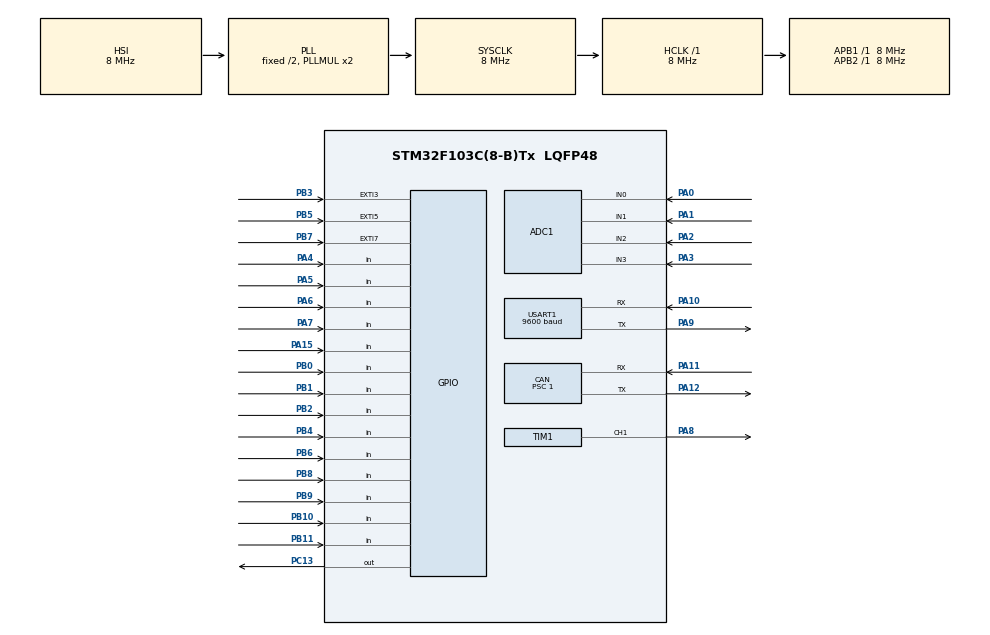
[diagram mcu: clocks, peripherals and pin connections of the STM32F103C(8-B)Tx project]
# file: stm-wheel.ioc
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ADC1.Channel-0\#ChannelRegularConversion=ADC_CHANNEL_0
ADC1.Channel-1\#ChannelRegularConversion=ADC_CHANNEL_1
ADC1.Channel-2\#ChannelRegularConversion=ADC_CHANNEL_2
ADC1.Channel-3\#ChannelRegularConversion=ADC_CHANNEL_3
ADC1.ContinuousConvMode=ENABLE
ADC1.NbrOfConversion=4
ADC1.NbrOfConversionFlag=1
ADC1.Rank-0\#ChannelRegularConversion=1
ADC1.Rank-1\#ChannelRegularConversion=2
ADC1.Rank-2\#ChannelRegularConversion=3
ADC1.Rank-3\#ChannelRegularConversion=4
ADC1.SamplingTime-0\#ChannelRegularConversion=ADC_SAMPLETIME_55CYCLES_5
ADC1.SamplingTime-1\#ChannelRegularConversion=ADC_SAMPLETIME_55CYCLES_5
ADC1.SamplingTime-2\#ChannelRegularConversion=ADC_SAMPLETIME_55CYCLES_5
ADC1.SamplingTime-3\#ChannelRegularConversion=ADC_SAMPLETIME_55CYCLES_5
ADC1.master=1
CAN.BS1=CAN_BS1_5TQ
CAN.BS2=CAN_BS2_2TQ
CAN.CalculateBaudRate=1000000
CAN.CalculateTimeBit=1000
CAN.CalculateTimeQuantum=125.0
CAN.Prescaler=1
Dma.ADC1.0.Direction=DMA_PERIPH_TO_MEMORY
Dma.ADC1.0.Instance=DMA1_Channel1
Dma.ADC1.0.MemDataAlignment=DMA_MDATAALIGN_HALFWORD
Dma.ADC1.0.MemInc=DMA_MINC_ENABLE
Dma.ADC1.0.Mode=DMA_CIRCULAR
Dma.ADC1.0.PeriphDataAlignment=DMA_PDATAALIGN_HALFWORD
Dma.ADC1.0.PeriphInc=DMA_PINC_DISABLE
Dma.ADC1.0.Priority=DMA_PRIORITY_HIGH
Dma.Request0=ADC1
Dma.Request1=TIM1_CH1
Dma.TIM1_CH1.1.Direction=DMA_MEMORY_TO_PERIPH
Dma.TIM1_CH1.1.Instance=DMA1_Channel2
Dma.TIM1_CH1.1.MemDataAlignment=DMA_MDATAALIGN_HALFWORD
Dma.TIM1_CH1.1.MemInc=DMA_MINC_ENABLE
Dma.TIM1_CH1.1.Mode=DMA_NORMAL
Dma.TIM1_CH1.1.PeriphDataAlignment=DMA_PDATAALIGN_HALFWORD
Dma.TIM1_CH1.1.PeriphInc=DMA_PINC_DISABLE
Dma.TIM1_CH1.1.Priority=DMA_PRIORITY_HIGH
FREERTOS.Tasks01=defaultTask,0,128,StartDefaultTask,Default,NULL,Dynamic,NULL,NULL;nextionTask,1,192,startNextionTask,Default,NULL,Dynamic,NULL,NULL;canTask,2,192,startCanTask,Default,NULL,Dynamic,NULL,NULL
FREERTOS.configUSE_NEWLIB_REENTRANT=1
Mcu.Family=STM32F1
Mcu.Name=STM32F103C(8-B)Tx
Mcu.Package=LQFP48
NVIC.CAN1_RX1_IRQn=true\:5\:0\:false\:false\:true\:true\:true\:true\:true
NVIC.CAN1_SCE_IRQn=true\:5\:0\:false\:false\:true\:true\:true\:true\:true
NVIC.DMA1_Channel1_IRQn=true\:5\:0\:false\:false\:true\:true\:false\:true\:true
NVIC.DMA1_Channel2_IRQn=true\:5\:0\:false\:false\:true\:true\:false\:true\:true
NVIC.EXTI3_IRQn=true\:5\:0\:false\:false\:true\:true\:true\:true\:true
NVIC.EXTI9_5_IRQn=true\:5\:0\:false\:false\:true\:true\:true\:true\:true
NVIC.PriorityGroup=NVIC_PRIORITYGROUP_4
NVIC.TIM4_IRQn=true\:15\:0\:false\:false\:true\:false\:false\:true\:true
NVIC.TimeBase=TIM4_IRQn
NVIC.TimeBaseIP=TIM4
NVIC.USART1_IRQn=true\:5\:0\:false\:false\:true\:true\:true\:true\:true
NVIC.USB_HP_CAN1_TX_IRQn=true\:5\:0\:false\:false\:true\:true\:true\:true\:true
NVIC.USB_LP_CAN1_RX0_IRQn=true\:5\:0\:false\:false\:true\:true\:true\:true\:true
PA0-WKUP.Signal=ADCx_IN0
PA1.Signal=ADCx_IN1
PA10.Mode=Asynchronous
PA10.Signal=USART1_RX
PA11.GPIO_PuPd=GPIO_PULLUP
PA11.Mode=CAN_Activate
PA11.Signal=CAN_RX
PA12.Mode=CAN_Activate
PA12.Signal=CAN_TX
PA13.Mode=Serial_Wire
PA13.Signal=SYS_JTMS-SWDIO
PA14.Mode=Serial_Wire
PA14.Signal=SYS_JTCK-SWCLK
PA15.GPIO_PuPd=GPIO_PULLUP
PA15.Signal=GPIO_Input
PA2.Signal=ADCx_IN2
PA3.Signal=ADCx_IN3
PA4.GPIO_PuPd=GPIO_PULLUP
PA4.Signal=GPIO_Input
PA5.GPIO_PuPd=GPIO_PULLUP
PA5.Signal=GPIO_Input
PA6.GPIO_PuPd=GPIO_PULLUP
PA6.Signal=GPIO_Input
PA7.GPIO_PuPd=GPIO_PULLUP
PA7.Signal=GPIO_Input
PA8.Signal=S_TIM1_CH1
PA9.Mode=Asynchronous
PA9.Signal=USART1_TX
PB0.GPIO_PuPd=GPIO_PULLUP
PB0.Signal=GPIO_Input
PB1.GPIO_PuPd=GPIO_PULLUP
PB1.Signal=GPIO_Input
PB10.GPIO_PuPd=GPIO_PULLUP
PB10.Signal=GPIO_Input
PB11.GPIO_PuPd=GPIO_PULLUP
PB11.Signal=GPIO_Input
PB2.GPIO_PuPd=GPIO_PULLUP
PB2.Signal=GPIO_Input
PB3.GPIO_ModeDefaultEXTI=GPIO_MODE_IT_RISING
PB3.GPIO_PuPd=GPIO_PULLUP
PB3.Signal=GPXTI3
PB4.GPIO_PuPd=GPIO_PULLUP
PB4.Signal=GPIO_Input
PB5.GPIO_ModeDefaultEXTI=GPIO_MODE_IT_RISING
PB5.GPIO_PuPd=GPIO_PULLUP
PB5.Signal=GPXTI5
PB6.GPIO_PuPd=GPIO_PULLUP
PB6.Signal=GPIO_Input
PB7.GPIO_ModeDefaultEXTI=GPIO_MODE_IT_RISING
PB7.GPIO_PuPd=GPIO_PULLUP
PB7.Signal=GPXTI7
PB8.GPIO_PuPd=GPIO_PULLUP
PB8.Signal=GPIO_Input
PB9.GPIO_PuPd=GPIO_PULLUP
PB9.Signal=GPIO_Input
PC13-TAMPER-RTC.Signal=GPIO_Output
PC14-OSC32_IN.Mode=LSE-External-Oscillator
PC14-OSC32_IN.Signal=RCC_OSC32_IN
PC15-OSC32_OUT.Mode=LSE-External-Oscillator
PC15-OSC32_OUT.Signal=RCC_OSC32_OUT
PD0-OSC_IN.Mode=HSE-External-Oscillator
PD0-OSC_IN.Signal=RCC_OSC_IN
PD1-OSC_OUT.Mode=HSE-External-Oscillator
PD1-OSC_OUT.Signal=RCC_OSC_OUT
ProjectManager.HeapSize=0x200
ProjectManager.StackSize=0x400
ProjectManager.TargetToolchain=STM32CubeIDE
RCC.AHBFreq_Value=8000000
RCC.APB1Freq_Value=8000000
RCC.APB1TimFreq_Value=8000000
RCC.APB2Freq_Value=8000000
RCC.APB2TimFreq_Value=8000000
RCC.HCLKFreq_Value=8000000
RCC.SYSCLKFreq_VALUE=8000000
RCC.SYSCLKSource=RCC_SYSCLKSOURCE_PLLCLK
RCC.USBFreq_Value=8000000
SH.ADCx_IN0.0=ADC1_IN0,IN0
SH.ADCx_IN1.0=ADC1_IN1,IN1
SH.ADCx_IN2.0=ADC1_IN2,IN2
SH.ADCx_IN3.0=ADC1_IN3,IN3
SH.S_TIM1_CH1.0=TIM1_CH1,PWM Generation1 CH1
TIM1.Channel-PWM\ Generation1\ CH1=TIM_CHANNEL_1
TIM1.OCFastMode_PWM-PWM\ Generation1\ CH1=TIM_OCFAST_ENABLE
TIM1.Period=9
TIM1.Pulse-PWM\ Generation1\ CH1=1
USART1.BaudRate=9600
USART1.VirtualMode=VM_ASYNC
VP_FREERTOS_VS_CMSIS_V1.Mode=CMSIS_V1
VP_SYS_VS_tim4.Mode=TIM4
board=custom

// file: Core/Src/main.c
/* USER CODE BEGIN Header */
/**
  ******************************************************************************
  * @file           : main.c
  * @brief          : Main program body
  ******************************************************************************
  * @attention
  *
  * Copyright (c) 2025 STMicroelectronics.
  * All rights reserved.
  *
  * This software is licensed under terms that can be found in the LICENSE file
  * in the root directory of this software component.
  * If no LICENSE file comes with this software, it is provided AS-IS.
  *
  ******************************************************************************
  */
/* USER CODE END Header */
#include "main.h"
#include "cmsis_os.h"

/* USER CODE BEGIN Includes */
#include <stdint.h>
#include <stdio.h>
#include <stdlib.h>
#include <string.h>
#include <neopixel.h>
/* USER CODE END Includes */

/* USER CODE BEGIN PTD */
typedef struct __attribute__((packed, aligned(1))){
	int32_t  tRpm;
	int32_t  tGear;
	int32_t  tSpeedKmh;
	int32_t  tHasDRS;
	int32_t  tDrs;
	int32_t  tPitLim;
	int32_t  tFuel;
	int32_t  tBrakeBias;
	int32_t  tMaxRpm;
	float   tForceFB;
} telemetry_packet;

telemetry_packet telemetry_data;

typedef struct __attribute__((packed, aligned(1))) {
    uint32_t buttons;       // 10 physical buttons + 2 hall sensor buttons (12 total, packed into 16 bits)
    uint8_t hall_analog_1;  // First hall sensor analog value (0-255)
    uint8_t hall_analog_2;  // Second hall sensor analog value (0-255)
} user_input_data_t;

user_input_data_t user_input_data;
/* USER CODE END PTD */

/* USER CODE BEGIN PD */
#define BUTTON_1_PIN  GPIO_PIN_4 // PA4
#define BUTTON_2_PIN  GPIO_PIN_5 // PA5
#define BUTTON_3_PIN  GPIO_PIN_6 // PA6
#define BUTTON_4_PIN  GPIO_PIN_7 // PA7
#define BUTTON_5_PIN  GPIO_PIN_0 // PB0
#define BUTTON_6_PIN  GPIO_PIN_1 // PB1
#define BUTTON_7_PIN  GPIO_PIN_10 // PB10
#define BUTTON_8_PIN  GPIO_PIN_11 // PB11
#define BUTTON_9_PIN  GPIO_PIN_9 // PB9
#define BUTTON_10_PIN GPIO_PIN_8 // PB8

#define HALL_BUTTON_1_PIN GPIO_PIN_9 // PA0
#define HALL_BUTTON_2_PIN GPIO_PIN_8 // PA1

#define HALL_ANALOG_1_PIN GPIO_PIN_15 // PA2
#define HALL_ANALOG_2_PIN GPIO_PIN_14 // PA3

#define L_ENC_PIN_CLK GPIO_PIN_7 // PB7
#define L_ENC_PIN_DT GPIO_PIN_6 // PB6
#define C_ENC_PIN_CLK GPIO_PIN_5 // PB5
#define C_ENC_PIN_DT GPIO_PIN_4 // PB4
#define R_ENC_PIN_CLK GPIO_PIN_3 // PB3
#define R_ENC_PIN_DT GPIO_PIN_15 // PA15

#define NEOPIXEL_PIN GPIO_PIN_8
#define NUM_LEDS 8 // MATCH IN neopixel.c

#define ADC_CHANNEL_COUNT 4
#define ADC_REST 2000
#define ADC_MAX 2800

#define ENCODER_HOLD_DURATION 500  // ms
/* USER CODE END PD */

ADC_HandleTypeDef hadc1;
DMA_HandleTypeDef hdma_adc1;

CAN_HandleTypeDef hcan;

TIM_HandleTypeDef htim1;
DMA_HandleTypeDef hdma_tim1_ch1;

UART_HandleTypeDef huart1;

osThreadId defaultTaskHandle;
osThreadId nextionTaskHandle;
osThreadId canTaskHandle;
/* USER CODE BEGIN PV */
// Oscillation state variables
int value = 0;
int direction = 1; // 1 for increasing, -1 for decreasing
int step = 1;      // Increment/Decrement step
int delay_ms = 25; // Delay between updates

int enc_l_flag = 0;
int enc_c_flag = 0;
int enc_r_flag = 0;

uint32_t enc_l_time = 0, enc_c_time = 0, enc_r_time = 0;

int shift_paddle_l = 0;
int shift_paddle_r = 0;

uint32_t lastSendTime = 0;
uint16_t adc_values[ADC_CHANNEL_COUNT];

volatile uint8_t adc_data_ready = 0;
volatile uint32_t last_enc_interrupt_time = 0;

/* USER CODE END PV */

void SystemClock_Config(void);
static void MX_GPIO_Init(void);
static void MX_DMA_Init(void);
static void MX_CAN_Init(void);
static void MX_USART1_UART_Init(void);
static void MX_ADC1_Init(void);
static void MX_TIM1_Init(void);
void StartDefaultTask(void const * argument);
void startNextionTask(void const * argument);
void startCanTask(void const * argument);

/* USER CODE BEGIN 0 */
int oscillate_value();
void Flash_Onboard_LED(GPIO_TypeDef *GPIOx, uint16_t GPIO_Pin, uint32_t delay_ms);
void CAN_Transmit();
void sendCANMessage(uint16_t canID, int32_t value);
void updateTelemetry();
void updateUserInput();
void send_to_nextion(const char *var_name, int value);
void send__char_to_nextion(const char *var_name, char *value);
void read_hall_sensors();
int32_t map_rpmbar(int32_t input, int32_t in_min, int32_t in_max, int32_t out_min, int32_t out_max);
const char* map_gear(int value);
char* int_to_string(int value);
void Start_ADC_DMA();
uint8_t map_hall_sensor(uint16_t adc_value);
void updateNeopixels();
/* USER CODE END 0 */

int main(void)
{

  /* MCU Configuration--------------------------------------------------------*/

  /* Reset of all peripherals, Initializes the Flash interface and the Systick. */
  HAL_Init();

  /* Configure the system clock */
  SystemClock_Config();

  /* Initialize all configured peripherals */
  MX_GPIO_Init();
  MX_DMA_Init();
  MX_CAN_Init();
  MX_USART1_UART_Init();
  MX_ADC1_Init();
  MX_TIM1_Init();
  /* USER CODE BEGIN 2 */
  HAL_CAN_Start(&hcan);
  HAL_CAN_ActivateNotification(&hcan, CAN_IT_RX_FIFO1_MSG_PENDING);
  /* USER CODE END 2 */

  /* Create the thread(s) */
  /* definition and creation of defaultTask */
  osThreadDef(defaultTask, StartDefaultTask, osPriorityNormal, 0, 128);
  defaultTaskHandle = osThreadCreate(osThread(defaultTask), NULL);

  /* definition and creation of nextionTask */
  osThreadDef(nextionTask, startNextionTask, osPriorityAboveNormal, 0, 192);
  nextionTaskHandle = osThreadCreate(osThread(nextionTask), NULL);

  /* definition and creation of canTask */
  osThreadDef(canTask, startCanTask, osPriorityHigh, 0, 192);
  canTaskHandle = osThreadCreate(osThread(canTask), NULL);

  /* Start scheduler */
  osKernelStart();

  /* We should never get here as control is now taken by the scheduler */

  /* Infinite loop */
  /* USER CODE BEGIN WHILE */
  vTaskStartScheduler();
  HAL_GPIO_WritePin(GPIOC, GPIO_PIN_13, GPIO_PIN_SET);   // Turn LED off
	telemetry_data.tRpm = 0;
	telemetry_data.tRpm = 0;
	telemetry_data.tSpeedKmh = 0;
	telemetry_data.tHasDRS = 0;
	telemetry_data.tDrs = 0;
	telemetry_data.tPitLim = 0;
	telemetry_data.tFuel = 0;
	telemetry_data.tBrakeBias = 0;

  while (1)
  {

    /* USER CODE END WHILE */

  }
}

void SystemClock_Config(void)
{
  RCC_OscInitTypeDef RCC_OscInitStruct = {0};
  RCC_ClkInitTypeDef RCC_ClkInitStruct = {0};
  RCC_PeriphCLKInitTypeDef PeriphClkInit = {0};

  /** Initializes the RCC Oscillators according to the specified parameters
  * in the RCC_OscInitTypeDef structure.
  */
  RCC_OscInitStruct.OscillatorType = RCC_OSCILLATORTYPE_HSI;
  RCC_OscInitStruct.HSIState = RCC_HSI_ON;
  RCC_OscInitStruct.HSICalibrationValue = RCC_HSICALIBRATION_DEFAULT;
  RCC_OscInitStruct.PLL.PLLState = RCC_PLL_ON;
  RCC_OscInitStruct.PLL.PLLSource = RCC_PLLSOURCE_HSI_DIV2;
  RCC_OscInitStruct.PLL.PLLMUL = RCC_PLL_MUL2;
  if (HAL_RCC_OscConfig(&RCC_OscInitStruct) != HAL_OK)
  {
    Error_Handler();
  }

  /** Initializes the CPU, AHB and APB buses clocks
  */
  RCC_ClkInitStruct.ClockType = RCC_CLOCKTYPE_HCLK|RCC_CLOCKTYPE_SYSCLK
                              |RCC_CLOCKTYPE_PCLK1|RCC_CLOCKTYPE_PCLK2;
  RCC_ClkInitStruct.SYSCLKSource = RCC_SYSCLKSOURCE_PLLCLK;
  RCC_ClkInitStruct.AHBCLKDivider = RCC_SYSCLK_DIV1;
  RCC_ClkInitStruct.APB1CLKDivider = RCC_HCLK_DIV1;
  RCC_ClkInitStruct.APB2CLKDivider = RCC_HCLK_DIV1;

  if (HAL_RCC_ClockConfig(&RCC_ClkInitStruct, FLASH_LATENCY_0) != HAL_OK)
  {
    Error_Handler();
  }
  PeriphClkInit.PeriphClockSelection = RCC_PERIPHCLK_ADC;
  PeriphClkInit.AdcClockSelection = RCC_ADCPCLK2_DIV2;
  if (HAL_RCCEx_PeriphCLKConfig(&PeriphClkInit) != HAL_OK)
  {
    Error_Handler();
  }
}

static void MX_ADC1_Init(void)
{

  ADC_ChannelConfTypeDef sConfig = {0};

  /** Common config
  */
  hadc1.Instance = ADC1;
  hadc1.Init.ScanConvMode = ADC_SCAN_ENABLE;
  hadc1.Init.ContinuousConvMode = ENABLE;
  hadc1.Init.DiscontinuousConvMode = DISABLE;
  hadc1.Init.ExternalTrigConv = ADC_SOFTWARE_START;
  hadc1.Init.DataAlign = ADC_DATAALIGN_RIGHT;
  hadc1.Init.NbrOfConversion = 4;
  if (HAL_ADC_Init(&hadc1) != HAL_OK)
  {
    Error_Handler();
  }

  /** Configure Regular Channel
  */
  sConfig.Channel = ADC_CHANNEL_0;
  sConfig.Rank = ADC_REGULAR_RANK_1;
  sConfig.SamplingTime = ADC_SAMPLETIME_55CYCLES_5;
  if (HAL_ADC_ConfigChannel(&hadc1, &sConfig) != HAL_OK)
  {
    Error_Handler();
  }

  /** Configure Regular Channel
  */
  sConfig.Channel = ADC_CHANNEL_1;
  sConfig.Rank = ADC_REGULAR_RANK_2;
  if (HAL_ADC_ConfigChannel(&hadc1, &sConfig) != HAL_OK)
  {
    Error_Handler();
  }

  /** Configure Regular Channel
  */
  sConfig.Channel = ADC_CHANNEL_2;
  sConfig.Rank = ADC_REGULAR_RANK_3;
  if (HAL_ADC_ConfigChannel(&hadc1, &sConfig) != HAL_OK)
  {
    Error_Handler();
  }

  /** Configure Regular Channel
  */
  sConfig.Channel = ADC_CHANNEL_3;
  sConfig.Rank = ADC_REGULAR_RANK_4;
  if (HAL_ADC_ConfigChannel(&hadc1, &sConfig) != HAL_OK)
  {
    Error_Handler();
  }

}

static void MX_CAN_Init(void)
{

  hcan.Instance = CAN1;
  hcan.Init.Prescaler = 1;
  hcan.Init.Mode = CAN_MODE_NORMAL;
  hcan.Init.SyncJumpWidth = CAN_SJW_1TQ;
  hcan.Init.TimeSeg1 = CAN_BS1_5TQ;
  hcan.Init.TimeSeg2 = CAN_BS2_2TQ;
  hcan.Init.TimeTriggeredMode = DISABLE;
  hcan.Init.AutoBusOff = DISABLE;
  hcan.Init.AutoWakeUp = DISABLE;
  hcan.Init.AutoRetransmission = DISABLE;
  hcan.Init.ReceiveFifoLocked = DISABLE;
  hcan.Init.TransmitFifoPriority = DISABLE;
  if (HAL_CAN_Init(&hcan) != HAL_OK)
  {
    Error_Handler();
  }
  /* USER CODE BEGIN CAN_Init 2 */
  CAN_FilterTypeDef filterConfig;

  filterConfig.FilterBank = 0;
  filterConfig.FilterMode = CAN_FILTERMODE_IDMASK;
  filterConfig.FilterScale = CAN_FILTERSCALE_32BIT;
  filterConfig.FilterIdHigh = 0x100 << 5;       // Accept all IDs
  filterConfig.FilterMaskIdHigh = 0x700 << 5;;   // Accept all IDs
  filterConfig.FilterFIFOAssignment = CAN_RX_FIFO1;  // Assign to FIFO 1
  filterConfig.FilterActivation = ENABLE;

  HAL_CAN_ConfigFilter(&hcan, &filterConfig);
  /* USER CODE END CAN_Init 2 */

}

static void MX_TIM1_Init(void)
{

  TIM_MasterConfigTypeDef sMasterConfig = {0};
  TIM_OC_InitTypeDef sConfigOC = {0};
  TIM_BreakDeadTimeConfigTypeDef sBreakDeadTimeConfig = {0};

  htim1.Instance = TIM1;
  htim1.Init.Prescaler = 0;
  htim1.Init.CounterMode = TIM_COUNTERMODE_UP;
  htim1.Init.Period = 9;
  htim1.Init.ClockDivision = TIM_CLOCKDIVISION_DIV1;
  htim1.Init.RepetitionCounter = 0;
  htim1.Init.AutoReloadPreload = TIM_AUTORELOAD_PRELOAD_DISABLE;
  if (HAL_TIM_PWM_Init(&htim1) != HAL_OK)
  {
    Error_Handler();
  }
  sMasterConfig.MasterOutputTrigger = TIM_TRGO_RESET;
  sMasterConfig.MasterSlaveMode = TIM_MASTERSLAVEMODE_DISABLE;
  if (HAL_TIMEx_MasterConfigSynchronization(&htim1, &sMasterConfig) != HAL_OK)
  {
    Error_Handler();
  }
  sConfigOC.OCMode = TIM_OCMODE_PWM1;
  sConfigOC.Pulse = 1;
  sConfigOC.OCPolarity = TIM_OCPOLARITY_HIGH;
  sConfigOC.OCNPolarity = TIM_OCNPOLARITY_HIGH;
  sConfigOC.OCFastMode = TIM_OCFAST_ENABLE;
  sConfigOC.OCIdleState = TIM_OCIDLESTATE_RESET;
  sConfigOC.OCNIdleState = TIM_OCNIDLESTATE_RESET;
  if (HAL_TIM_PWM_ConfigChannel(&htim1, &sConfigOC, TIM_CHANNEL_1) != HAL_OK)
  {
    Error_Handler();
  }
  sBreakDeadTimeConfig.OffStateRunMode = TIM_OSSR_DISABLE;
  sBreakDeadTimeConfig.OffStateIDLEMode = TIM_OSSI_DISABLE;
  sBreakDeadTimeConfig.LockLevel = TIM_LOCKLEVEL_OFF;
  sBreakDeadTimeConfig.DeadTime = 0;
  sBreakDeadTimeConfig.BreakState = TIM_BREAK_DISABLE;
  sBreakDeadTimeConfig.BreakPolarity = TIM_BREAKPOLARITY_HIGH;
  sBreakDeadTimeConfig.AutomaticOutput = TIM_AUTOMATICOUTPUT_DISABLE;
  if (HAL_TIMEx_ConfigBreakDeadTime(&htim1, &sBreakDeadTimeConfig) != HAL_OK)
  {
    Error_Handler();
  }
  HAL_TIM_MspPostInit(&htim1);

}

static void MX_USART1_UART_Init(void)
{

  huart1.Instance = USART1;
  huart1.Init.BaudRate = 9600;
  huart1.Init.WordLength = UART_WORDLENGTH_8B;
  huart1.Init.StopBits = UART_STOPBITS_1;
  huart1.Init.Parity = UART_PARITY_NONE;
  huart1.Init.Mode = UART_MODE_TX_RX;
  huart1.Init.HwFlowCtl = UART_HWCONTROL_NONE;
  huart1.Init.OverSampling = UART_OVERSAMPLING_16;
  if (HAL_UART_Init(&huart1) != HAL_OK)
  {
    Error_Handler();
  }

}

static void MX_DMA_Init(void)
{

  /* DMA controller clock enable */
  __HAL_RCC_DMA1_CLK_ENABLE();

  /* DMA interrupt init */
  /* DMA1_Channel1_IRQn interrupt configuration */
  HAL_NVIC_SetPriority(DMA1_Channel1_IRQn, 5, 0);
  HAL_NVIC_EnableIRQ(DMA1_Channel1_IRQn);
  /* DMA1_Channel2_IRQn interrupt configuration */
  HAL_NVIC_SetPriority(DMA1_Channel2_IRQn, 5, 0);
  HAL_NVIC_EnableIRQ(DMA1_Channel2_IRQn);

}

static void MX_GPIO_Init(void)
{
  GPIO_InitTypeDef GPIO_InitStruct = {0};

  /* GPIO Ports Clock Enable */
  __HAL_RCC_GPIOC_CLK_ENABLE();
  __HAL_RCC_GPIOD_CLK_ENABLE();
  __HAL_RCC_GPIOA_CLK_ENABLE();
  __HAL_RCC_GPIOB_CLK_ENABLE();

  /*Configure GPIO pin Output Level */
  HAL_GPIO_WritePin(GPIOC, GPIO_PIN_13, GPIO_PIN_RESET);

  /*Configure GPIO pin : PC13 */
  GPIO_InitStruct.Pin = GPIO_PIN_13;
  GPIO_InitStruct.Mode = GPIO_MODE_OUTPUT_PP;
  GPIO_InitStruct.Pull = GPIO_NOPULL;
  GPIO_InitStruct.Speed = GPIO_SPEED_FREQ_LOW;
  HAL_GPIO_Init(GPIOC, &GPIO_InitStruct);

  /*Configure GPIO pins : PA4 PA5 PA6 PA7
                           PA15 */
  GPIO_InitStruct.Pin = GPIO_PIN_4|GPIO_PIN_5|GPIO_PIN_6|GPIO_PIN_7
                          |GPIO_PIN_15;
  GPIO_InitStruct.Mode = GPIO_MODE_INPUT;
  GPIO_InitStruct.Pull = GPIO_PULLUP;
  HAL_GPIO_Init(GPIOA, &GPIO_InitStruct);

  /*Configure GPIO pins : PB0 PB1 PB2 PB10
                           PB11 PB4 PB6 PB8
                           PB9 */
  GPIO_InitStruct.Pin = GPIO_PIN_0|GPIO_PIN_1|GPIO_PIN_2|GPIO_PIN_10
                          |GPIO_PIN_11|GPIO_PIN_4|GPIO_PIN_6|GPIO_PIN_8
                          |GPIO_PIN_9;
  GPIO_InitStruct.Mode = GPIO_MODE_INPUT;
  GPIO_InitStruct.Pull = GPIO_PULLUP;
  HAL_GPIO_Init(GPIOB, &GPIO_InitStruct);

  /*Configure GPIO pins : PB3 PB5 PB7 */
  GPIO_InitStruct.Pin = GPIO_PIN_3|GPIO_PIN_5|GPIO_PIN_7;
  GPIO_InitStruct.Mode = GPIO_MODE_IT_RISING;
  GPIO_InitStruct.Pull = GPIO_PULLUP;
  HAL_GPIO_Init(GPIOB, &GPIO_InitStruct);

  /* EXTI interrupt init*/
  HAL_NVIC_SetPriority(EXTI3_IRQn, 5, 0);
  HAL_NVIC_EnableIRQ(EXTI3_IRQn);

  HAL_NVIC_SetPriority(EXTI9_5_IRQn, 5, 0);
  HAL_NVIC_EnableIRQ(EXTI9_5_IRQn);

}

/* USER CODE BEGIN 4 */

void Flash_Onboard_LED(GPIO_TypeDef *GPIOx, uint16_t GPIO_Pin, uint32_t delay_ms) {
    HAL_GPIO_WritePin(GPIOx, GPIO_Pin, GPIO_PIN_RESET); // Turn LED on
    HAL_Delay(delay_ms);
    HAL_GPIO_WritePin(GPIOx, GPIO_Pin, GPIO_PIN_SET);   // Turn LED off
    HAL_Delay(delay_ms);
}

/*
 * NEXTION UART FUNCTIONS
 */
void updateTelemetry() {
	int mappedRpmBar = map_rpmbar(telemetry_data.tRpm, 0, telemetry_data.tMaxRpm, 0, 100);
	char *mappedRpm = int_to_string(telemetry_data.tRpm);
	char *mappedGear = map_gear(telemetry_data.tGear);
	char *mappedSpeed = int_to_string(telemetry_data.tSpeedKmh);
	char *mappedHasDrs = int_to_string(telemetry_data.tHasDRS);
	char *mappedPitLim = int_to_string(telemetry_data.tPitLim);
	char *mappedFuel = int_to_string(telemetry_data.tFuel);
	char *mappedBrakeBias = int_to_string(telemetry_data.tBrakeBias);

	send_int_to_nextion("rpmbar", mappedRpmBar);
	send__char_to_nextion("rpm", mappedRpm);
	send__char_to_nextion("gear", mappedGear);
	send__char_to_nextion("speed", mappedSpeed);
	//send__char_to_nextion("mappedHasDrs", mappedHasDrs);
	//send_to_nextion("pitlim", telemetry_data.tPitLim);
	send__char_to_nextion("fuel", mappedFuel);
	//send_to_nextion("gear", telemetry_data.tBrakeBias);

	if(mappedRpm) {
		free(mappedRpm);
	}
	// dont do gear since thats not int to string
	if(mappedSpeed) {
		free(mappedSpeed);
	}
	if(mappedHasDrs) {
		free(mappedHasDrs);
	}
	if(mappedPitLim) {
		free(mappedPitLim);
	}
	if(mappedFuel) {
		free(mappedFuel);
	}
	if(mappedBrakeBias) {
		free(mappedBrakeBias);
	}

}

void send_int_to_nextion(const char *var_name, int value) {
	char command[32];
	snprintf(command, sizeof(command), "%s.val=%d", var_name, value);

	HAL_UART_Transmit(&huart1, (uint8_t *)command, strlen(command), HAL_MAX_DELAY);

	uint8_t termination_bytes[3] = {0xFF, 0xFF, 0xFF};
	HAL_UART_Transmit(&huart1, termination_bytes, sizeof(termination_bytes), HAL_MAX_DELAY);
}

void send__char_to_nextion(const char *var_name, char *value) {
	char command[32];
	snprintf(command, sizeof(command), "%s.txt=\"%s\"", var_name, value);

	HAL_UART_Transmit(&huart1, (uint8_t *)command, strlen(command), HAL_MAX_DELAY);

	uint8_t termination_bytes[3] = {0xFF, 0xFF, 0xFF};
	HAL_UART_Transmit(&huart1, termination_bytes, sizeof(termination_bytes), HAL_MAX_DELAY);
}

int oscillate_value() {
    // Update value based on direction
    value += direction * step;

    // Reverse direction at boundaries
    if (value >= 100 || value <= 0) {
        direction *= -1;
    }

    return value;
}

/**
 * Map a value from one range to another.
 *
 * @param input: The value to map.
 * @param in_min: The minimum of the input range.
 * @param in_max: The maximum of the input range.
 * @param out_min: The minimum of the output range.
 * @param out_max: The maximum of the output range.
 * @return The mapped value in the output range.
 */
int32_t map_rpmbar(int32_t input, int32_t in_min, int32_t in_max, int32_t out_min, int32_t out_max) {
    if (in_max == in_min) {
        return out_min;
    }

    if (input < in_min) input = in_min;
    if (input > in_max) input = in_max;

    return (input - in_min) * (out_max - out_min) / (in_max - in_min) + out_min;
}

const char* map_gear(int value)  {
    if (value < 0 || value > 13) {
        return "X";
    }

    switch (value) {
        case 0: return "R";
        case 1: return "N";
        case 2: return "1";
        case 3: return "2";
        case 4: return "3";
        case 5: return "4";
        case 6: return "5";
        case 7: return "6";
        case 8: return "7";
        case 9: return "8";
        case 10: return "9";
        case 11: return "10";
        case 12: return "11";
        case 13: return "12";

        default:
        	return "X";
    }
}

char* int_to_string(int value) {
    // Determine required buffer size (including null terminator)
    size_t buffer_size = snprintf(NULL, 0, "%d", value) + 1;

    // Allocate memory
    char *string = (char*)malloc(buffer_size);
    if (!string) {
        return NULL;  // Return NULL if allocation fails
    }

    // Format the integer into the allocated string
    snprintf(string, buffer_size, "%d", value);

    return string;  // Caller must free() this memory
}

void updateNeopixels() {

    // Prevent divide by zero
    if (telemetry_data.tMaxRpm == 0) return;

    // Clamp currentRPM to maxRPM
    if (telemetry_data.tRpm > telemetry_data.tMaxRpm) telemetry_data.tRpm = telemetry_data.tMaxRpm;

    // Calculate how many LEDs to light
    uint8_t ledsToLight = (telemetry_data.tRpm * NUM_LEDS) / telemetry_data.tMaxRpm;

    // Loop through and set color
    for (uint8_t i = 0; i < NUM_LEDS; i++) {
        if (i < ledsToLight) {
            // Green at low RPM, shift to red near redline (optional)
            uint8_t r = (i * 255) / NUM_LEDS;    // Red increases with RPM
            uint8_t g = 255 - r;                // Green fades out
            neopixel_set(i, r, g, 0);
        } else {
            neopixel_set(i, 0, 0, 0); // Turn off
        }
    }

    neopixel_show();
}

void updateUserInput() {
	uint32_t now = HAL_GetTick();
	user_input_data.buttons = 0; // Clear all bits initially
	user_input_data.hall_analog_1 = 0;
	user_input_data.hall_analog_2 = 0;
	// Buttons
	if (!HAL_GPIO_ReadPin(GPIOA, BUTTON_1_PIN)) user_input_data.buttons |= (1 << 0);
	if (!HAL_GPIO_ReadPin(GPIOA, BUTTON_2_PIN)) user_input_data.buttons |= (1 << 1);
	if (!HAL_GPIO_ReadPin(GPIOA, BUTTON_3_PIN)) user_input_data.buttons |= (1 << 2);
	if (!HAL_GPIO_ReadPin(GPIOA, BUTTON_4_PIN)) user_input_data.buttons |= (1 << 3);
	if (!HAL_GPIO_ReadPin(GPIOB, BUTTON_5_PIN)) user_input_data.buttons |= (1 << 4);
	if (!HAL_GPIO_ReadPin(GPIOB, BUTTON_6_PIN)) user_input_data.buttons |= (1 << 5);
	if (!HAL_GPIO_ReadPin(GPIOB, BUTTON_7_PIN)) user_input_data.buttons |= (1 << 6);
	if (!HAL_GPIO_ReadPin(GPIOB, BUTTON_8_PIN)) user_input_data.buttons |= (1 << 7);
	if (!HAL_GPIO_ReadPin(GPIOB, BUTTON_9_PIN)) user_input_data.buttons |= (1 << 8);
	if (!HAL_GPIO_ReadPin(GPIOB, BUTTON_10_PIN)) user_input_data.buttons |= (1 << 9);

	if(adc_data_ready) {
		processADC();
	}

	if (enc_l_flag == 1) user_input_data.buttons |= (1 << 12);
	if (enc_l_flag == -1) user_input_data.buttons |= (1 << 13);
	if (enc_c_flag == 1) user_input_data.buttons |= (1 << 14);
	if (enc_c_flag == -1) user_input_data.buttons |= (1 << 15);
	if (enc_r_flag == 1) user_input_data.buttons |= (1 << 16);
	if (enc_r_flag == -1) user_input_data.buttons |= (1 << 17);

	if (now - enc_l_time > ENCODER_HOLD_DURATION) enc_l_flag = 0;
	if (now - enc_c_time > ENCODER_HOLD_DURATION) enc_c_flag = 0;
	if (now - enc_r_time > ENCODER_HOLD_DURATION) enc_r_flag = 0;
}

void Start_ADC_DMA() {
    HAL_ADC_Start_DMA(&hadc1, (uint32_t*)adc_values, ADC_CHANNEL_COUNT);
}

void HAL_ADC_ConvCpltCallback(ADC_HandleTypeDef *hadc) {
    if (hadc->Instance == ADC1) {
        adc_data_ready = 1;  // Set flag (do NOT process here)
    }
}

void processADC() {
	adc_data_ready = 0;

	int paddleThreshold = 100;

	// Convert ADC values to 8-bit format
	user_input_data.hall_analog_1 = map_hall_sensor(adc_values[2]);
	user_input_data.hall_analog_2 = map_hall_sensor(adc_values[3]);

	if (shift_paddle_l == 0 && shift_paddle_r == 0)
	{
		shift_paddle_l = adc_values[0];
		shift_paddle_r = adc_values[1];
	}
	else
	{
		// Process hall button thresholds
		if (shift_paddle_l - adc_values[1] > paddleThreshold) user_input_data.buttons |= (1 << 11);
		if (shift_paddle_r - adc_values[0] > paddleThreshold) user_input_data.buttons |= (1 << 10);
	//	if (adc_values[0] > 2200) user_input_data.buttons |= (1 << 10);
	//	if (adc_values[1] > 2200) user_input_data.buttons |= (1 << 11);
	}

}
uint8_t map_hall_sensor(uint16_t adc_value) {
    if (adc_value < ADC_REST) adc_value = ADC_REST;
    if (adc_value > ADC_MAX) adc_value = ADC_MAX;

    return (uint8_t)(((adc_value - ADC_REST) * 255) / (ADC_MAX - ADC_REST));
}

/*
 * CAN BUS FUNCTIONS
 */
void CAN_Transmit() {
	uint32_t currentTime = HAL_GetTick();

	if(currentTime - lastSendTime >= 2) {
		sendCANMessage(0x200, (int32_t)user_input_data.buttons);
		sendCANMessage(0x201, (int32_t)user_input_data.hall_analog_1 & 0xFF);
		sendCANMessage(0x202, (int32_t)user_input_data.hall_analog_2 & 0xFF);

		lastSendTime = currentTime;  // Update last transmission time
		HAL_Delay(1);
	}
}

void sendCANMessage(uint16_t canID, int32_t value) {
    CAN_TxHeaderTypeDef TxHeader;
    uint8_t TxData[4];  // 4-byte buffer

    // Ensure correct byte order in CAN message
    TxData[0] = (uint8_t)(value & 0xFF);
    TxData[1] = (uint8_t)((value >> 8) & 0xFF);
    TxData[2] = (uint8_t)((value >> 16) & 0xFF);
    TxData[3] = (uint8_t)((value >> 24) & 0xFF);

    uint32_t TxMailbox;

    // Configure the CAN header
    TxHeader.StdId = canID;  // Set the ID
    TxHeader.IDE = CAN_ID_STD;  // Standard 11-bit ID
    TxHeader.RTR = CAN_RTR_DATA;  // Data frame, not remote request
    TxHeader.DLC = sizeof(value);  // Data Length = 4 bytes

    // Copy integer value into TxData buffer (ensure correct byte order)
    memcpy(TxData, &value, sizeof(value));

    // Send the CAN message
    if (HAL_CAN_AddTxMessage(&hcan, &TxHeader, TxData, &TxMailbox) != HAL_OK) {
    	 // Optionally log the state of CAN error counters
		uint32_t error = HAL_CAN_GetError(&hcan);
		HAL_CAN_Stop(&hcan);  // Stop CAN
		HAL_CAN_Start(&hcan); // Restart CAN
		// Optional: Clear error flags
		__HAL_CAN_CLEAR_FLAG(&hcan, CAN_FLAG_ERRI);
    }
}

// CAN receive interrupt callback
void HAL_CAN_RxFifo1MsgPendingCallback(CAN_HandleTypeDef *hcan) {
	CAN_RxHeaderTypeDef RxHeader;
	uint8_t RxData[8];

	while (HAL_CAN_GetRxFifoFillLevel(hcan, CAN_RX_FIFO1) > 0) {
		HAL_CAN_GetRxMessage(hcan, CAN_RX_FIFO1, &RxHeader, RxData);

		int32_t value;
		memcpy(&value, RxData, sizeof(value));

		switch (RxHeader.StdId) {
			// Wheelbase
			case 0x100: telemetry_data.tRpm = value; break;
			case 0x101: telemetry_data.tGear = value; break;
			case 0x102: telemetry_data.tSpeedKmh = value; break;
			case 0x103: telemetry_data.tHasDRS = value; break;
			case 0x104: telemetry_data.tDrs = value; break;
			case 0x105: telemetry_data.tPitLim = value; break;
			case 0x106: telemetry_data.tFuel = value; break;
			case 0x107: telemetry_data.tBrakeBias = value; break;
			case 0x108: telemetry_data.tMaxRpm = value; break;
			case 0x109: telemetry_data.tForceFB = value; break;
			default: break;
		}
	}
}

void HAL_GPIO_EXTI_Callback(uint16_t GPIO_Pin) {
	uint32_t current_time = HAL_GetTick();  // Get system time in ms
	if (current_time - last_enc_interrupt_time < 250) return;  // Debounce (5ms)
	last_enc_interrupt_time = current_time;
    if (GPIO_Pin == L_ENC_PIN_CLK) {
        if (HAL_GPIO_ReadPin(GPIOB, L_ENC_PIN_DT) == GPIO_PIN_SET) {
        	enc_l_flag = 1;
        } else {
        	enc_l_flag = -1;
        }
        enc_l_time = current_time;
    }
    if (GPIO_Pin == C_ENC_PIN_CLK) {
		if (HAL_GPIO_ReadPin(GPIOB, C_ENC_PIN_DT) == GPIO_PIN_SET) {
			enc_c_flag = 1;
		} else {
			enc_c_flag = -1;
		}
		enc_c_time = current_time;
	}
    if (GPIO_Pin == R_ENC_PIN_CLK) {
		if (HAL_GPIO_ReadPin(GPIOA, R_ENC_PIN_DT) == GPIO_PIN_SET) {
			enc_r_flag = 1;
		} else {
			enc_r_flag = -1;
		}
		enc_r_time = current_time;
	}
}
/* USER CODE END 4 */

void StartDefaultTask(void const * argument)
{
  /* USER CODE BEGIN 5 */
  /* Infinite loop */
  for(;;)
  {
	  HAL_GPIO_WritePin(GPIOC, GPIO_PIN_13, GPIO_PIN_RESET);   // Turn LED off
	  HAL_GPIO_WritePin(GPIOC, GPIO_PIN_13, GPIO_PIN_SET);   // Turn LED off
	  osDelay(5);
  }
  /* USER CODE END 5 */
}

void startNextionTask(void const * argument)
{
  /* USER CODE BEGIN startNextionTask */
  /* Infinite loop */
//	neopixel_clear();
//	neopixel_show();
//	osDelay(10);

  for(;;)
  {
	  updateTelemetry();
/*	  updateNeopixels();*/
//	  neopixel_set(0, 255, 0, 0); // RED
//	  neopixel_set(1, 0, 255, 0); // GREEN
//	  neopixel_set(2, 0, 0, 255); // BLUE
//	  neopixel_set(3, 255, 255, 255); // WHITE
//	  neopixel_show();

	  osDelay(1);
  }
  /* USER CODE END startNextionTask */
}

void startCanTask(void const * argument)
{
  /* USER CODE BEGIN startCanTask */
  /* Infinite loop */
	Start_ADC_DMA();
  for(;;)
  {
	  updateUserInput();
	  CAN_Transmit();
	  osDelay(5);
  }
  /* USER CODE END startCanTask */
}

void HAL_TIM_PeriodElapsedCallback(TIM_HandleTypeDef *htim)
{
  if (htim->Instance == TIM4) {
    HAL_IncTick();
  }
}

void Error_Handler(void)
{
  __disable_irq();
  while (1)
  {
  }
}
